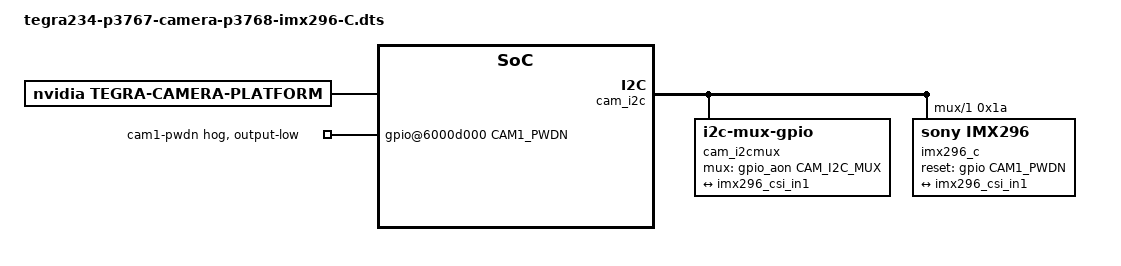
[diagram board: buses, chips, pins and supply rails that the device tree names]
// SPDX-License-Identifier: GPL-2.0-only
// IMX296 mono GS on Jetson Orin Nano (p3768) CSI connector CAM1 / port C.

/dts-v1/;
/plugin/;

#define CAM0_RST	TEGRA234_MAIN_GPIO(H, 3)
#define CAM0_PWDN	TEGRA234_MAIN_GPIO(H, 6)
#define CAM1_PWDN	TEGRA234_MAIN_GPIO(AC, 0)
#define CAM_I2C_MUX	TEGRA234_AON_GPIO(CC, 3)

#include <dt-bindings/tegra234-p3767-0000-common.h>
#include <dt-bindings/clock/tegra234-clock.h>

/ {
	overlay-name = "Camera IMX296-C";
	jetson-header-name = "Jetson 24pin CSI Connector";
	compatible = JETSON_COMPATIBLE_P3768;

	fragment@0 {
		target-path = "/";
		__overlay__ {
			tegra-capture-vi {
				num-channels = <1>;
				ports {
					#address-cells = <1>;
					#size-cells = <0>;
					vi_port1: port@1 {
						reg = <0>;
						imx296_vi_in1: endpoint {
							port-index = <2>;
							bus-width = <1>;
							remote-endpoint = <&imx296_csi_out1>;
						};
					};
				};
			};
			tegra-camera-platform {
				compatible = "nvidia, tegra-camera-platform";
				num_csi_lanes = <1>;
				max_lane_speed = <1500000>;
				min_bits_per_pixel = <10>;
				vi_peak_byte_per_pixel = <2>;
				vi_bw_margin_pct = <25>;
				max_pixel_rate = <750000>;
				isp_peak_byte_per_pixel = <5>;
				isp_bw_margin_pct = <25>;
				modules {
					cam_module1: module1 {
						badge = "imx296_rear";
						position = "rear";
						orientation = "1";
						cam_module1_drivernode0: drivernode0 {
							pcl_id = "v4l2_sensor";
							sysfs-device-tree = "/sys/firmware/devicetree/base/bus@0/cam_i2cmux/i2c@1/imx296_c@1a";
						};
					};
				};
			};
			bus@0 {
				host1x@13e00000 {
					nvcsi@15a00000 {
						num-channels = <1>;
						#address-cells = <1>;
						#size-cells = <0>;
						csi_chan1: channel@1 {
							reg = <0>;
							ports {
								#address-cells = <1>;
								#size-cells = <0>;
								csi_chan1_port0: port@0 {
									reg = <0>;
									imx296_csi_in1: endpoint@2 {
										port-index = <2>;
										bus-width = <1>;
										remote-endpoint = <&imx296_out1>;
									};
								};
								csi_chan1_port1: port@1 {
									reg = <1>;
									imx296_csi_out1: endpoint@3 {
										remote-endpoint = <&imx296_vi_in1>;
									};
								};
							};
						};
					};
				};
				cam_i2cmux {
					status = "okay";
					compatible = "i2c-mux-gpio";
					#address-cells = <1>;
					#size-cells = <0>;
					mux-gpios = <&gpio_aon CAM_I2C_MUX GPIO_ACTIVE_HIGH>;
					i2c-parent = <&cam_i2c>;
					i2c@1 {
						status = "okay";
						reg = <1>;
						#address-cells = <1>;
						#size-cells = <0>;
						imx296_c@1a {
							reset-gpios = <&gpio CAM1_PWDN GPIO_ACTIVE_HIGH>;
							clocks = <&bpmp TEGRA234_CLK_EXTPERIPH1>,
								 <&bpmp TEGRA234_CLK_EXTPERIPH1>;
							clock-names = "extperiph1", "pllp_grtba";
							mclk = "extperiph1";
							compatible = "sony,imx296";
							reg = <0x1a>;
							devnode = "video0";
							physical_w = "6.3";
							physical_h = "4.9";
							sensor_model = "imx296";
							use_sensor_mode_id = "true";
							mode0 { /* 1456x1088 60fps RAW10 mono */
								mclk_khz = "54000";	/* Waveshare IMX296 self-clocks at 54 MHz */
								num_lanes = "1";
								tegra_sinterface = "serial_c";
								phy_mode = "DPHY";
								discontinuous_clk = "no";	/* IMX296 uses continuous clock (per INNO-MAKER known-good) */
								lane_polarity = "0";	/* IMX296 1-lane: no swizzle (per INNO-MAKER known-good) */
								dpcm_enable = "false";
								cil_settletime = "0";
								active_w = "1456";
								active_h = "1088";
								mode_type = "bayer";
								pixel_phase = "rggb";
								pixel_t = "mono_y10";	/* mono Y10, not Bayer RG10 */
								csi_pixel_bit_depth = "10";
								readout_orientation = "0";
								line_length = "1100";
								inherent_gain = "1";
								mclk_multiplier = "22";
								pix_clk_hz = "118800000";
								gain_factor = "10";
								min_gain_val = "0";
								max_gain_val = "480";
								step_gain_val = "1";
								default_gain = "0";
								min_hdr_ratio = "1";
								max_hdr_ratio = "1";
								framerate_factor = "1000000";
								min_framerate = "2000000";
								max_framerate = "60000000";
								step_framerate = "1";
								default_framerate = "60000000";
								exposure_factor = "1000000";
								min_exp_time = "29";
								max_exp_time = "16000";
								step_exp_time = "1";
								default_exp_time = "10000";
								embedded_metadata_height = "2";	/* IMX296 emits 2 embedded data lines */
							};
							ports {
								#address-cells = <1>;
								#size-cells = <0>;
								port@0 {
									reg = <0>;
									imx296_out1: endpoint {
										status = "okay";
										port-index = <2>;
										bus-width = <1>;
										remote-endpoint = <&imx296_csi_in1>;
									};
								};
							};
						};
					};
				};
				gpio@6000d000 {
					camera-control-output-low {
						gpio-hog;
						output-low;
						gpios = <CAM1_PWDN 0>;
						label = "cam1-pwdn";
					};
				};
			};
		};
	};
};
